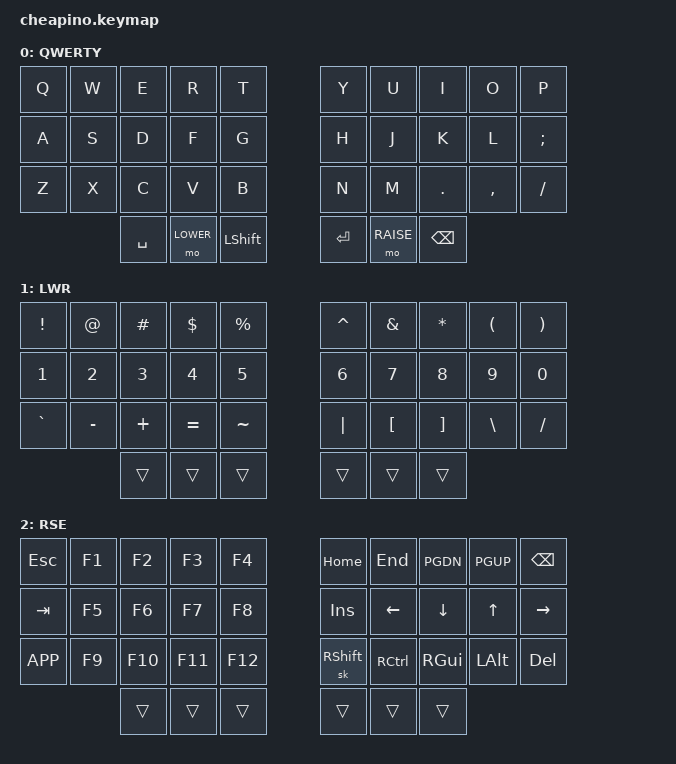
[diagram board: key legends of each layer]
/*
 * Copyright (c) 2025 Allister MacLeod
 *
 * SPDX-License-Identifier: MIT
 */

#include <behaviors.dtsi>
#include <dt-bindings/zmk/keys.h>

#define DEFAULT 0
#define LOWER   1
#define RAISE   2

/ {
    keymap {
        compatible = "zmk,keymap";

        default_layer {
            bindings = <
                &kp Q  &kp W  &kp E  &kp R  &kp T            &kp Y  &kp U  &kp I   &kp O     &kp P
                &kp A  &kp S  &kp D  &kp F  &kp G            &kp H  &kp J  &kp K   &kp L     &kp SEMI
                &kp Z  &kp X  &kp C  &kp V  &kp B            &kp N  &kp M  &kp DOT &kp COMMA &kp SLASH
                        &kp SPACE &mo LOWER &kp LSHIFT   &kp ENTER &mo RAISE &kp BACKSPACE
            >;
            display-name = "QWERTY";
        };

        lower_layer {
            bindings = <
                &kp EXCL  &kp AT    &kp HASH &kp DOLLAR &kp PRCNT      &kp CARET &kp AMPS &kp STAR &kp LPAR &kp RPAR
                &kp N1    &kp N2    &kp N3   &kp N4     &kp N5         &kp N6    &kp N7   &kp N8   &kp N9   &kp N0
                &kp GRAVE &kp MINUS &kp PLUS &kp EQUAL  &kp TILDE      &kp PIPE  &kp LBKT &kp RBKT &kp BSLH &kp FSLH
                                               &trans &trans &trans   &trans &trans &trans
            >;
            display-name = "LWR";
        };

        raise_layer {
            bindings = <
                &kp ESC   &kp F1 &kp F2  &kp F3  &kp F4             &kp HOME   &kp END   &kp PGDN &kp PGUP &kp BSPC
                &kp TAB   &kp F5 &kp F6  &kp F7  &kp F8             &kp INS    &kp LEFT  &kp DOWN &kp UP   &kp RIGHT
                &kp K_APP &kp F9 &kp F10 &kp F11 &kp F12            &sk RSHIFT &kp RCTRL &kp RGUI &kp LALT &kp DEL
                                        &trans &trans &trans   &trans &trans &trans
            >;
            display-name = "RSE";
        };
    };
};
